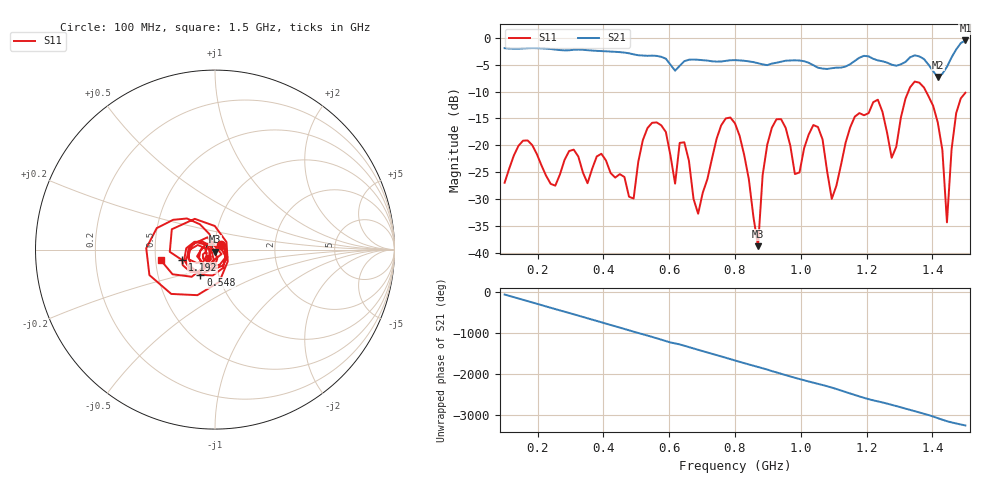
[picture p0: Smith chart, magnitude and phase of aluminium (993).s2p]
! NanoVNA-App
! Date: 2025-09-25 15:03:00
! Start: 100MHz Stop: 1,5GHz Points: 101
! S-Parameter data: F S11 S21 S12 S22
# Hz S RI R 50
!  Frequency  S11_Real  S11_Imag  S21_Real  S21_Imag  S12_Real  S12_Imag  S22_Real  S22_Imag
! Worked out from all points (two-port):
!   101 points, 100 MHz to 1.5 GHz, reference 50 ohm
!   highest |S21| = -0.48 dB at 1.5 GHz (marker M1); lowest = -7.3 dB at 1.416 GHz (marker M2)
!   |S21| within 3 dB of the highest: start of sweep to 572.6 MHz; 1.459 GHz to end of sweep (the widest 2 of 4)
!   lowest |S11| = -38.8 dB at 870 MHz (marker M3), VSWR 1.02, Z = 50.1 - j1.15 ohm
!   |S11| at or under -10 dB: start of sweep to 1.327 GHz; 1.381 GHz to end of sweep
!   S12 and S22 are empty: the file has one direction only
!   S11 on the Smith chart (normalised r, x): 100 MHz: 1.07, +0.06; 548 MHz: 0.82, -0.24; 1.192 GHz: 0.69, -0.08; 1.5 GHz: 0.53, -0.07
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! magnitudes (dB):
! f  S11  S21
! 100 MHz  -27.0  -1.9
! 156 MHz  -19.1  -2.0
! 338 MHz  -25.1  -2.2
! 492 MHz  -29.9  -3.1
! 548 MHz  -15.8  -3.3
! 576 MHz  -16.3  -3.5
! 618 MHz  -27.1  -6.1
! 646 MHz  -19.4  -4.3
! 688 MHz  -32.7  -4.1
! 800 MHz  -15.9  -4.1
! 870 MHz  -38.8  -4.7
! 912 MHz  -16.7  -4.8
! 982 MHz  -25.3  -4.2
! 1.038 GHz  -16.2  -5.1
! 1.094 GHz  -29.9  -5.6
! 1.192 GHz  -14.4  -3.3
! 1.276 GHz  -22.3  -5.0
! 1.346 GHz  -8.1  -3.3
! 1.416 GHz  -15.7  -7.3
! 1.444 GHz  -34.3  -5.4
! 1.472 GHz  -14.0  -2.2
! 1.5 GHz  -10.2  -0.5
